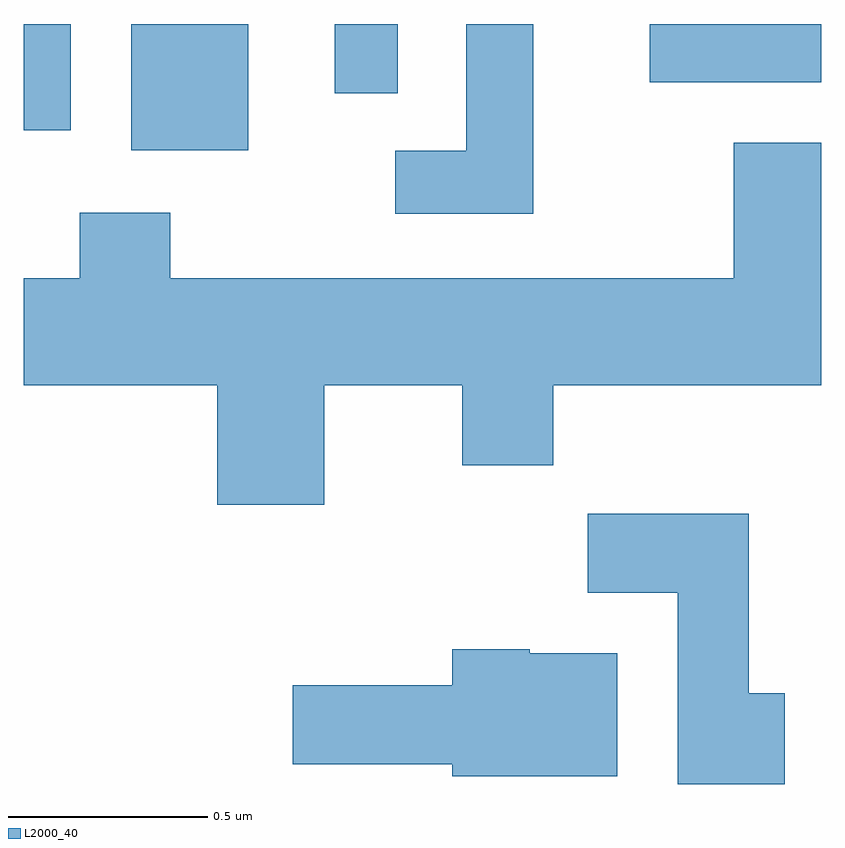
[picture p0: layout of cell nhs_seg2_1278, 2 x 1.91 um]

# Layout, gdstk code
import gdstk
lib = gdstk.Library(unit=1e-6, precision=1e-09)
def R(c, l, rs):  # rectangles x0, y0, x1, y1
    for r in rs: c.add(gdstk.rectangle(r[:2], r[2:], *l))
def P(c, l, *ps):  # polygons
    for p in ps: c.add(gdstk.Polygon(p, *l))
L2000_40 = (2000, 40)

nhs_seg2_1278 = lib.new_cell('nhs_seg2_1278')
R(nhs_seg2_1278, L2000_40, [(194.881,1024.486,195.174,1024.802), (194.611,1024.536,194.729,1024.802), (195.391,1024.628,195.549,1024.802), (196.181,1024.656,196.611,1024.802)])
P(nhs_seg2_1278, L2000_40, [(195.889,1024.802),(195.721,1024.802),(195.721,1024.484),(195.543,1024.484),(195.543,1024.326),(195.889,1024.326)],
  [(195.364,1023.896),(195.711,1023.896),(195.711,1023.696),(195.939,1023.696),(195.939,1023.896),(196.611,1023.896),(196.611,1024.504),(196.391,1024.504),(196.391,1024.164),(194.979,1024.164),(194.979,1024.329),(194.751,1024.329),(194.751,1024.164),(194.611,1024.164),(194.611,1023.896),(195.096,1023.896),(195.096,1023.596),(195.364,1023.596)],
  [(196.519,1023.124),(196.429,1023.124),(196.429,1023.574),(196.026,1023.574),(196.026,1023.376),(196.251,1023.376),(196.251,1022.896),(196.519,1022.896)],
  [(196.099,1023.224),(195.88,1023.224),(195.88,1023.234),(195.686,1023.234),(195.686,1023.144),(195.286,1023.144),(195.286,1022.946),(195.686,1022.946),(195.686,1022.916),(196.099,1022.916)])

lib.write_gds('nhs_seg2_1278.gds')
